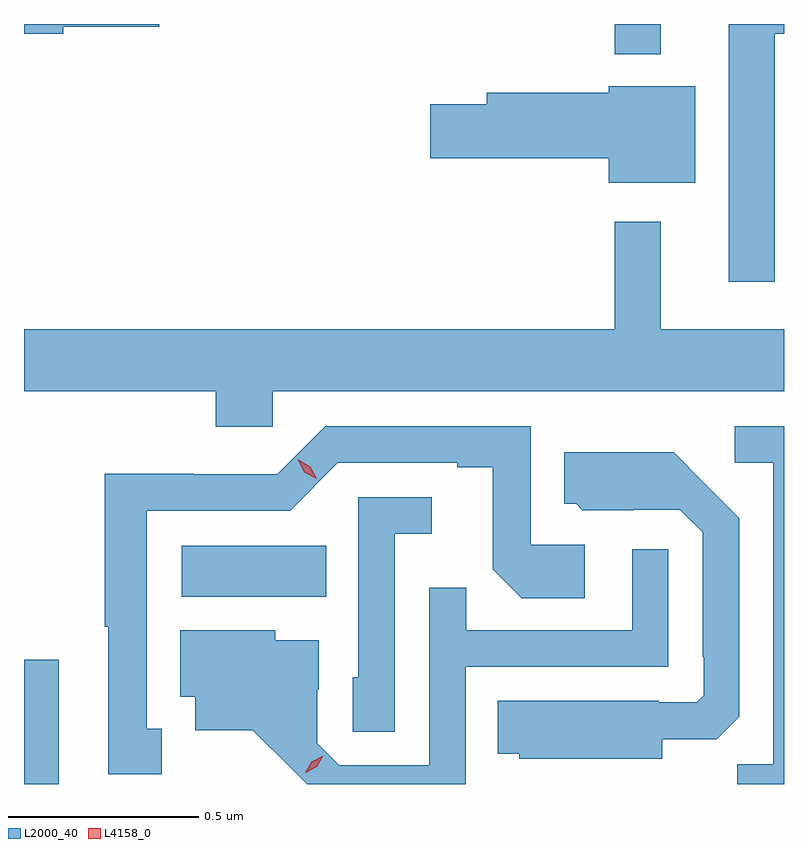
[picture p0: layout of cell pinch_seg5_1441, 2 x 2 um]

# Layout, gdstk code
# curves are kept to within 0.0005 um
import gdstk
lib = gdstk.Library(unit=1e-6, precision=1e-09)
def R(c, l, rs):  # rectangles x0, y0, x1, y1
    for r in rs: c.add(gdstk.rectangle(r[:2], r[2:], *l))
def P(c, l, *ps):  # polygons
    for p in ps: c.add(gdstk.Polygon(p, *l))
L2000_40 = (2000, 40)
L4158_0 = (4158, 0)

pinch_seg5_1441 = lib.new_cell('pinch_seg5_1441')
R(pinch_seg5_1441, L2000_40, [(165.821,895.687,165.913,896.014), (166.236,896.18,166.616,896.314), (167.376,897.608,167.497,897.687)])
P(pinch_seg5_1441, L2000_40, [(165.924,897.68),(166.177,897.68),(166.177,897.687),(165.821,897.687),(165.821,897.662),(165.924,897.662)],
  [(167.797,897.662),(167.821,897.662),(167.821,897.687),(167.675,897.687),(167.675,897.009),(167.797,897.009)],
  [(167.587,897.523),(167.36,897.523),(167.36,897.506),(167.039,897.506),(167.039,897.476),(166.89,897.476),(166.89,897.334),(167.36,897.334),(167.36,897.269),(167.587,897.269)],
  [(166.476,896.72),(167.821,896.72),(167.821,896.884),(167.497,896.884),(167.497,897.166),(167.376,897.166),(167.376,896.884),(165.821,896.884),(165.821,896.72),(166.325,896.72),(166.325,896.627),(166.476,896.627)],
  [(167.821,896.628),(167.691,896.628),(167.691,896.532),(167.793,896.532),(167.793,895.739),(167.698,895.739),(167.698,895.687),(167.821,895.687)],
  [(166.183,895.833),(166.144,895.833),(166.144,896.406),(166.521,896.406),(166.647,896.532),(166.961,896.532),(166.961,896.52),(167.055,896.52),(167.055,896.252),(167.131,896.176),(167.296,896.176),(167.296,896.316),(167.154,896.316),(167.154,896.628),(166.614,896.628),(166.488,896.502),(166.266,896.502),(166.266,896.504),(166.033,896.504),(166.033,896.101),(166.043,896.101),(166.043,895.713),(166.183,895.713)],
  [(167.5,895.805),(167.644,895.805),(167.703,895.864),(167.703,896.386),(167.531,896.56),(167.243,896.56),(167.243,896.424),(167.274,896.424),(167.29,896.408),(167.424,896.408),(167.424,896.409),(167.547,896.409),(167.607,896.349),(167.607,896.02),(167.61,896.02),(167.61,895.92),(167.592,895.902),(167.492,895.902),(167.492,895.906),(167.068,895.906),(167.068,895.766),(167.124,895.766),(167.124,895.754),(167.5,895.754)],
  [(166.797,896.345),(166.894,896.345),(166.894,896.442),(166.701,896.442),(166.701,895.968),(166.686,895.968),(166.686,895.825),(166.797,895.825)],
  [(166.983,895.995),(167.517,895.995),(167.517,896.305),(167.421,896.305),(167.421,896.091),(166.985,896.091),(166.985,896.204),(166.887,896.204),(166.887,895.737),(166.65,895.737),(166.593,895.794),(166.593,895.936),(166.597,895.936),(166.597,896.065),(166.482,896.065),(166.482,896.092),(166.232,896.092),(166.232,895.916),(166.271,895.916),(166.271,895.829),(166.423,895.829),(166.566,895.687),(166.983,895.687)])
P(pinch_seg5_1441, L4158_0, [(166.561,895.716),(166.561,895.716),(166.578,895.746),(166.608,895.762),(166.608,895.762),(166.608,895.762),(166.592,895.732),(166.562,895.716)],
  [(166.591,896.49),(166.559,896.508),(166.542,896.541),(166.542,896.541),(166.542,896.541),(166.574,896.522),(166.591,896.49),(166.591,896.49)])

lib.write_gds('pinch_seg5_1441.gds')
